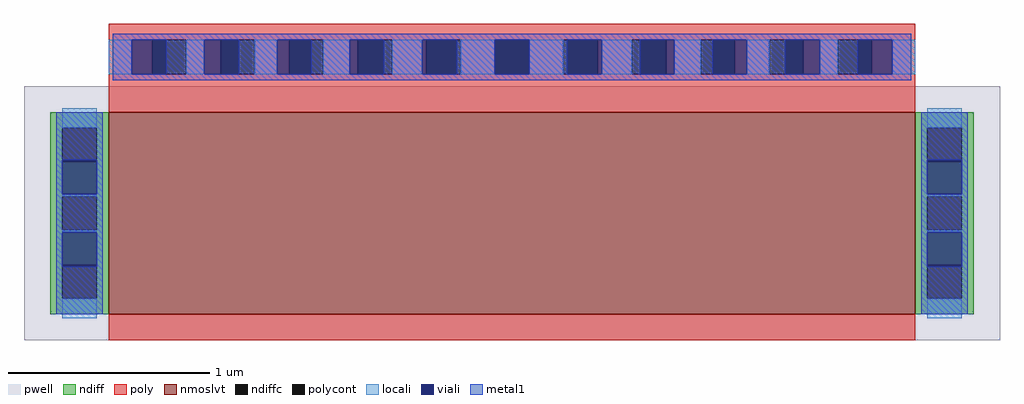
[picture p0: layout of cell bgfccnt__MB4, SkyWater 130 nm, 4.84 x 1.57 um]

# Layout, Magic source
magic
tech sky130A
magscale 1 2
<< pwell >>
rect -484 -157 484 95
<< nmoslvt >>
rect -400 -131 400 69
<< ndiff >>
rect -458 54 -400 69
rect -458 20 -446 54
rect -412 20 -400 54
rect -458 -14 -400 20
rect -458 -48 -446 -14
rect -412 -48 -400 -14
rect -458 -82 -400 -48
rect -458 -116 -446 -82
rect -412 -116 -400 -82
rect -458 -131 -400 -116
rect 400 54 458 69
rect 400 20 412 54
rect 446 20 458 54
rect 400 -14 458 20
rect 400 -48 412 -14
rect 446 -48 458 -14
rect 400 -82 458 -48
rect 400 -116 412 -82
rect 446 -116 458 -82
rect 400 -131 458 -116
<< ndiffc >>
rect -446 20 -412 54
rect -446 -48 -412 -14
rect -446 -116 -412 -82
rect 412 20 446 54
rect 412 -48 446 -14
rect 412 -116 446 -82
<< poly >>
rect -400 141 400 157
rect -400 107 -357 141
rect -323 107 -289 141
rect -255 107 -221 141
rect -187 107 -153 141
rect -119 107 -85 141
rect -51 107 -17 141
rect 17 107 51 141
rect 85 107 119 141
rect 153 107 187 141
rect 221 107 255 141
rect 289 107 323 141
rect 357 107 400 141
rect -400 69 400 107
rect -400 -157 400 -131
<< polycont >>
rect -357 107 -323 141
rect -289 107 -255 141
rect -221 107 -187 141
rect -153 107 -119 141
rect -85 107 -51 141
rect -17 107 17 141
rect 51 107 85 141
rect 119 107 153 141
rect 187 107 221 141
rect 255 107 289 141
rect 323 107 357 141
<< locali >>
rect -400 107 -377 141
rect -323 107 -305 141
rect -255 107 -233 141
rect -187 107 -161 141
rect -119 107 -89 141
rect -51 107 -17 141
rect 17 107 51 141
rect 89 107 119 141
rect 161 107 187 141
rect 233 107 255 141
rect 305 107 323 141
rect 377 107 400 141
rect -446 54 -412 73
rect -446 -14 -412 -12
rect -446 -50 -412 -48
rect -446 -135 -412 -116
rect 412 54 446 73
rect 412 -14 446 -12
rect 412 -50 446 -48
rect 412 -135 446 -116
<< viali >>
rect -377 107 -357 141
rect -357 107 -343 141
rect -305 107 -289 141
rect -289 107 -271 141
rect -233 107 -221 141
rect -221 107 -199 141
rect -161 107 -153 141
rect -153 107 -127 141
rect -89 107 -85 141
rect -85 107 -55 141
rect -17 107 17 141
rect 55 107 85 141
rect 85 107 89 141
rect 127 107 153 141
rect 153 107 161 141
rect 199 107 221 141
rect 221 107 233 141
rect 271 107 289 141
rect 289 107 305 141
rect 343 107 357 141
rect 357 107 377 141
rect -446 20 -412 22
rect -446 -12 -412 20
rect -446 -82 -412 -50
rect -446 -84 -412 -82
rect 412 20 446 22
rect 412 -12 446 20
rect 412 -82 446 -50
rect 412 -84 446 -82
<< metal1 >>
rect -396 141 396 147
rect -396 107 -377 141
rect -343 107 -305 141
rect -271 107 -233 141
rect -199 107 -161 141
rect -127 107 -89 141
rect -55 107 -17 141
rect 17 107 55 141
rect 89 107 127 141
rect 161 107 199 141
rect 233 107 271 141
rect 305 107 343 141
rect 377 107 396 141
rect -396 101 396 107
rect -452 22 -406 69
rect -452 -12 -446 22
rect -412 -12 -406 22
rect -452 -50 -406 -12
rect -452 -84 -446 -50
rect -412 -84 -406 -50
rect -452 -131 -406 -84
rect 406 22 452 69
rect 406 -12 412 22
rect 446 -12 452 22
rect 406 -50 452 -12
rect 406 -84 412 -50
rect 446 -84 452 -50
rect 406 -131 452 -84
<< end >>
